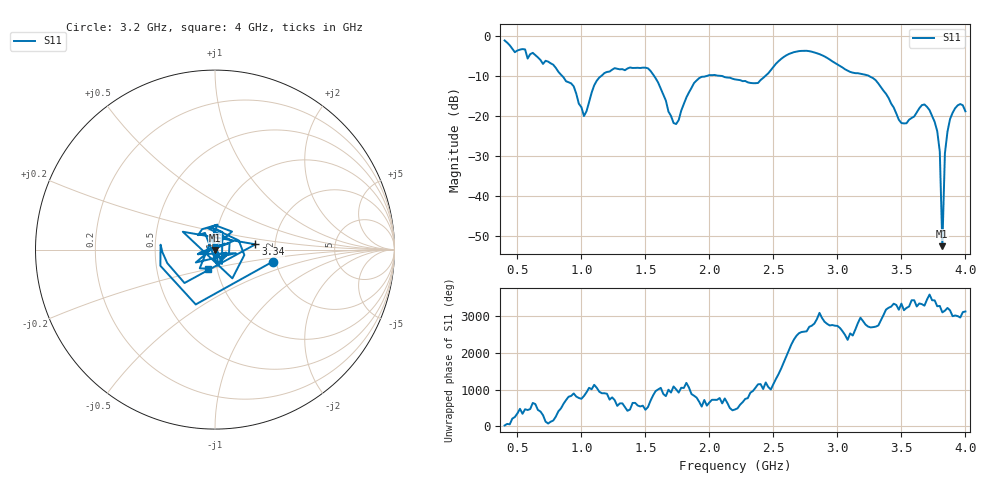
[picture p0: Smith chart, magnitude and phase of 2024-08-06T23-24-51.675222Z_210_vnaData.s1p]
!Created with skrf (http://scikit-rf.org).
# Hz S RI R 50.0
!freq ReS11 ImS11
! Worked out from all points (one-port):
!   181 points, 400 MHz to 4 GHz, reference 50 ohm
!   lowest |S11| = -52.6 dB at 3.82 GHz (marker M1), VSWR 1.00, Z = 49.8 - j0.163 ohm
!   |S11| at or under -10 dB: 1.566 GHz to 1.987 GHz (420.9 MHz wide, 23.7 % of centre); 2.068 GHz to 2.439 GHz (371.5 MHz wide, 16.5 % of centre); 3.242 GHz to end of sweep (the widest 3 of 4)
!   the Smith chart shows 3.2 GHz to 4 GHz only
!   S11 on the Smith chart (normalised r, x): 3.2 GHz: 1.93, -0.29; 3.34 GHz: 1.58, +0.10; 4 GHz: 0.90, -0.19
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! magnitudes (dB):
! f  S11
! 400 MHz  -1.2
! 860 MHz  -10.4
! 940 MHz  -12.7
! 1.02 GHz  -20.1
! 1.12 GHz  -11.3
! 1.3 GHz  -8.4
! 1.52 GHz  -8.2
! 1.6 GHz  -11.8
! 1.72 GHz  -21.8
! 1.76 GHz  -21.1
! 1.92 GHz  -10.6
! 2.2 GHz  -10.9
! 2.38 GHz  -11.8
! 2.66 GHz  -4.1
! 2.86 GHz  -4.6
! 3.1 GHz  -9.1
! 3.2 GHz  -9.6
! 3.34 GHz  -12.9
! 3.5 GHz  -21.8
! 3.56 GHz  -21.0
! 3.68 GHz  -17.2
! 3.78 GHz  -23.9
! 3.8 GHz  -29.0
! 3.82 GHz  -52.6
! 3.84 GHz  -29.4
! 3.86 GHz  -24.0
! 3.92 GHz  -18.1
! 4 GHz  -18.9
